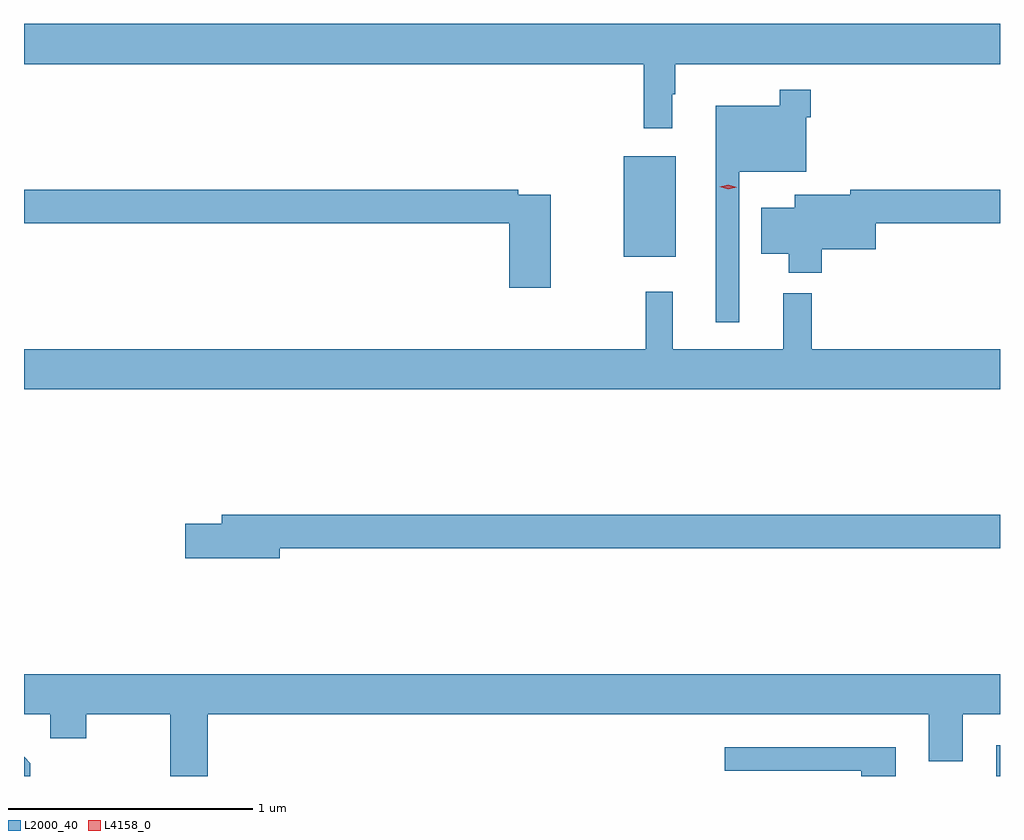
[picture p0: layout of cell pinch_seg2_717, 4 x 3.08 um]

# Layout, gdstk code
import gdstk
lib = gdstk.Library(unit=1e-6, precision=1e-09)
def R(c, l, rs):  # rectangles x0, y0, x1, y1
    for r in rs: c.add(gdstk.rectangle(r[:2], r[2:], *l))
def P(c, l, *ps):  # polygons
    for p in ps: c.add(gdstk.Polygon(p, *l))
L2000_40 = (2000, 40)
L4158_0 = (4158, 0)

pinch_seg2_717 = lib.new_cell('pinch_seg2_717')
R(pinch_seg2_717, L2000_40, [(788.261,660.702,788.277,660.829), (786.734,662.831,786.949,663.241)])
P(pinch_seg2_717, L2000_40, [(786.934,663.497),(786.946,663.497),(786.946,663.62),(788.277,663.62),(788.277,663.784),(784.277,663.784),(784.277,663.62),(786.817,663.62),(786.817,663.357),(786.934,663.357)],
  [(787.209,663.179),(787.482,663.179),(787.482,663.401),(787.502,663.401),(787.502,663.514),(787.374,663.514),(787.374,663.448),(787.112,663.448),(787.112,662.562),(787.209,662.562)],
  [(787.547,662.861),(787.768,662.861),(787.768,662.968),(788.277,662.968),(788.277,663.104),(787.664,663.104),(787.664,663.085),(787.436,663.085),(787.436,663.031),(787.298,663.031),(787.298,662.843),(787.412,662.843),(787.412,662.765),(787.547,662.765)],
  [(786.436,663.084),(786.302,663.084),(786.302,663.104),(784.277,663.104),(784.277,662.968),(786.266,662.968),(786.266,662.703),(786.436,662.703)],
  [(788.277,662.452),(787.505,662.452),(787.505,662.68),(787.388,662.68),(787.388,662.452),(786.935,662.452),(786.935,662.686),(786.825,662.686),(786.825,662.452),(784.277,662.452),(784.277,662.288),(788.277,662.288)],
  [(785.326,661.636),(788.277,661.636),(788.277,661.772),(785.087,661.772),(785.087,661.736),(784.938,661.736),(784.938,661.594),(785.326,661.594)],
  [(785.03,660.956),(787.985,660.956),(787.985,660.762),(788.125,660.762),(788.125,660.956),(788.277,660.956),(788.277,661.12),(784.277,661.12),(784.277,660.956),(784.385,660.956),(784.385,660.857),(784.533,660.857),(784.533,660.956),(784.877,660.956),(784.877,660.702),(785.03,660.702)],
  [(787.849,660.82),(787.149,660.82),(787.149,660.723),(787.709,660.723),(787.709,660.702),(787.849,660.702)],
  [(784.303,660.755),(784.277,660.781),(784.277,660.702),(784.303,660.702)])
P(pinch_seg2_717, L4158_0, [(787.163,663.106),(787.128,663.118),(787.127,663.118),(787.128,663.118),(787.163,663.126),(787.199,663.115),(787.199,663.115),(787.199,663.115)])

lib.write_gds('pinch_seg2_717.gds')
